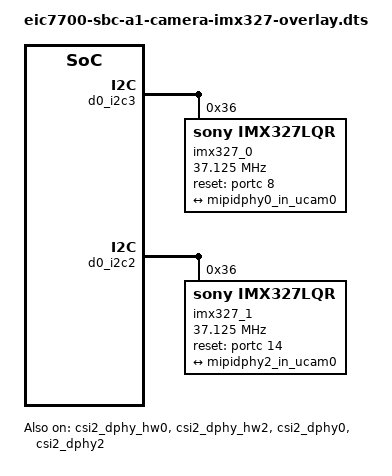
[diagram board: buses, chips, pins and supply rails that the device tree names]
/* SPDX-License-Identifier: GPL-2.0 */
/*
 * Copyright 2026, Beijing ESWIN Computing Technology Co., Ltd.. All rights reserved.
 *
 */

/dts-v1/;
/plugin/;

/ {
	fragment@0 {
		target = <&vi_subsys>;
		__overlay__ {
			phy_mode = <5>;
		};
	};

	fragment@1 {
		target = <&mipi_csi2_0>;
		__overlay__ {
			num_lanes = <2>;
		};
	};

	fragment@2 {
		target = <&mipi_csi2_2>;
		__overlay__ {
			num_lanes = <2>;
		};
	};

	fragment@3 {
		target = <&csi2_dphy_hw0>;
		__overlay__ {
			lanes = <1 2>;
			lanes-dp-dn = <0 0>;
			status = "okay";
		};
	};

	fragment@4 {
		target = <&csi2_dphy_hw2>;
		__overlay__ {
			lanes = <1 2>;
			lanes-dp-dn = <0 0>;
			status = "okay";
		};
	};

	fragment@5 {
		target = <&mipidphy0_in_ucam0>;
		__overlay__ {
			remote-endpoint = <&imx327_out0>;
			data-lanes = <1 2>;
		};
	};

	fragment@6 {
		target = <&mipidphy2_in_ucam0>;
		__overlay__ {
			remote-endpoint = <&imx327_out1>;
			data-lanes = <1 2>;
		};
	};

	fragment@7 {
		target = <&csi2_dphy0>;
		__overlay__ {
			status = "okay";
		};
	};

	fragment@8 {
		target = <&csi2_dphy2>;
		__overlay__ {
			status = "okay";
		};
	};

	fragment@9 {
		target = <&d0_i2c3>;
		__overlay__ {
			#address-cells = <1>;
			#size-cells = <0>;
			imx327_0: imx327_0@36 {
				compatible = "sony,imx327lqr";
				status = "okay";
				address-cells = <1>;
				size-cells = <0>;
				reg = <0x36>;
				clock-names = "xclk";
				clocks = <&d0_clock 0x244>;
				assigned-clocks = <&d0_clock 0x244>;
				assigned-clock-rates = <37125000>;
				clock-frequency = <37125000>;
				pinctrl-names = "default";
				pinctrl-0 = <&pinctrl_gpio72_default>;
				reset-gpio = <&portc 8 0>;
				power-domains = <&d0_pmu 2>;

				port {
					imx327_out0: endpoint {
						remote-endpoint = <&mipidphy0_in_ucam0>;
						data-lanes = <1 2>;
						link-frequencies = /bits/ 64 <445500000 297000000>;
					};
				};
			};
		};
	};

	fragment@10 {
		target = <&d0_i2c2>;
		__overlay__ {
			#address-cells = <1>;
			#size-cells = <0>;
			imx327_1: imx327_1@36 {
				compatible = "sony,imx327lqr";
				status = "okay";
				address-cells = <1>;
				size-cells = <0>;
				reg = <0x36>;
				clock-names = "xclk";
				clocks = <&d0_clock 0x244>;
				assigned-clocks = <&d0_clock 0x244>;
				assigned-clock-rates = <37125000>;
				clock-frequency = <37125000>;
				pinctrl-names = "default";
				pinctrl-0 = <&pinctrl_gpio78_default>;
				reset-gpio = <&portc 14 0>;
				power-domains = <&d0_pmu 2>;

				port {
					imx327_out1: endpoint {
						remote-endpoint = <&mipidphy2_in_ucam0>;
						data-lanes = <1 2>;
						link-frequencies = /bits/ 64 <445500000 297000000>;
					};
				};
			};
		};
	};
};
